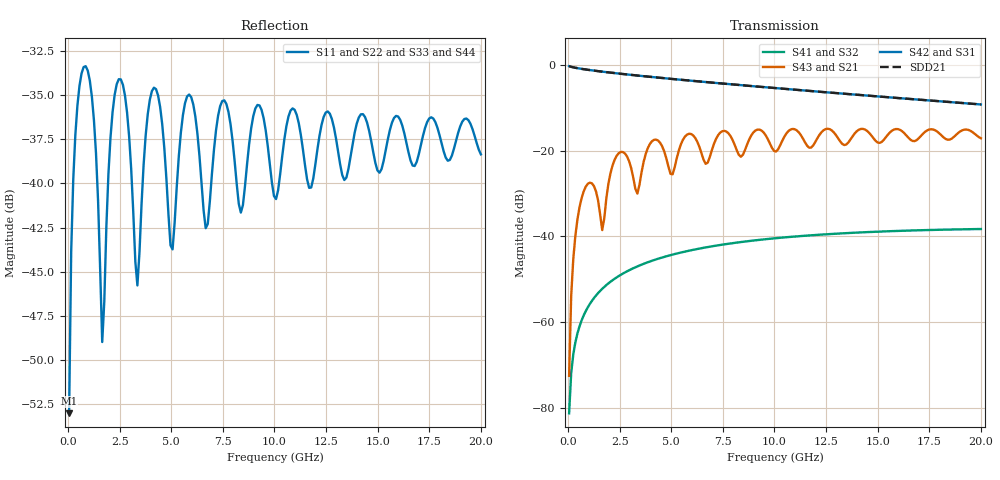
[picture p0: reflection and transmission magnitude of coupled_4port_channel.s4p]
! Touchstone 1.1 File - 4-Port Coupled Transmission Line / Differential Channel
! Port 1 <-> Port 3 (Line 1), Port 2 <-> Port 4 (Line 2)
! Reference Impedance: 50 Ohms | Frequency: 0.05 to 20.0 GHz
# GHz S RI R 50
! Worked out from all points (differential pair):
!   200 points, 50 MHz to 20 GHz, reference 50 ohm
!   strongest paths, dB at 50 MHz, 5.063 GHz, 10.08 GHz, 15.09 GHz, 20 GHz:
!     S42: -0.2, -3.2, -5.3, -7.3, -9.1
!     S31: -0.2, -3.2, -5.3, -7.3, -9.1
!     S43: -72.6, -25.5, -20.1, -18.1, -17.0
!     S21: -72.6, -25.5, -20.1, -18.1, -17.0
!     S41: -81.3, -44.2, -40.4, -38.9, -38.3
!     S32: -81.3, -44.2, -40.4, -38.9, -38.3
!   taken as a pair (ports 2,1 in; 4,3 out), SDD21 dB: -0.2, -3.2, -5.3, -7.3, -9.1
!   lowest |S11| = -53.0 dB at 50 MHz (marker M1), VSWR 1.00, Z = 50.1 + j0.21 ohm
!   |S11| at or under -10 dB: start of sweep to end of sweep
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0.05  0.000762 0.0021  -0.000222 7.58e-05  0.9742 -0.0916  -8.01e-06 -8.52e-05
      -0.000222 7.58e-05  0.000762 0.0021  -8.01e-06 -8.52e-05  0.9742 -0.0916
      0.9742 -0.0916  -8.01e-06 -8.52e-05  0.000762 0.0021  -0.000222 7.58e-05
      -8.01e-06 -8.52e-05  0.9742 -0.0916  -0.000222 7.58e-05  0.000762 0.0021
0.65151  0.02 0.00439  -0.00603 0.0272  0.3117 -0.8552  -0.000975 -0.000355
         -0.00603 0.0272  0.02 0.00439  -0.000975 -0.000355  0.3117 -0.8552
         0.3117 -0.8552  -0.000975 -0.000355  0.02 0.00439  -0.00603 0.0272
         -0.000975 -0.000355  0.3117 -0.8552  -0.00603 0.0272  0.02 0.00439
2.55628  0.0191 -0.005  0.0404 0.0885  0.0632 0.7943  0.00355 -0.000283
         0.0404 0.0885  0.0191 -0.005  0.00355 -0.000283  0.0632 0.7943
         0.0632 0.7943  0.00355 -0.000283  0.0191 -0.005  0.0404 0.0885
         0.00355 -0.000283  0.0632 0.7943  0.0404 0.0885  0.0191 -0.005
4.1603  0.0183 -0.00387  0.0669 0.1169  0.0401 -0.7258  -0.00529 -0.000292
        0.0669 0.1169  0.0183 -0.00387  -0.00529 -0.000292  0.0401 -0.7258
        0.0401 -0.7258  -0.00529 -0.000292  0.0183 -0.00387  0.0669 0.1169
        -0.00529 -0.000292  0.0401 -0.7258  0.0669 0.1169  0.0183 -0.00387
5.86457  0.0171 -0.00509  0.1047 0.1193  -0.00138 0.6645  0.00682 1.34e-05
         0.1047 0.1193  0.0171 -0.00509  0.00682 1.34e-05  -0.00138 0.6645
         -0.00138 0.6645  0.00682 1.34e-05  0.0171 -0.00509  0.1047 0.1193
         0.00682 1.34e-05  -0.00138 0.6645  0.1047 0.1193  0.0171 -0.00509
7.46859  0.0166 -0.00425  0.118 0.1222  0.0836 -0.6076  -0.00794 -0.00109
         0.118 0.1222  0.0166 -0.00425  -0.00794 -0.00109  0.0836 -0.6076
         0.0836 -0.6076  -0.00794 -0.00109  0.0166 -0.00425  0.118 0.1222
         -0.00794 -0.00109  0.0836 -0.6076  0.118 0.1222  0.0166 -0.00425
20  0.0103 -0.0064  0.1357 0.0371  0.3415 0.072  0.00252 -0.012
    0.1357 0.0371  0.0103 -0.0064  0.00252 -0.012  0.3415 0.072
    0.3415 0.072  0.00252 -0.012  0.0103 -0.0064  0.1357 0.0371
    0.00252 -0.012  0.3415 0.072  0.1357 0.0371  0.0103 -0.0064
